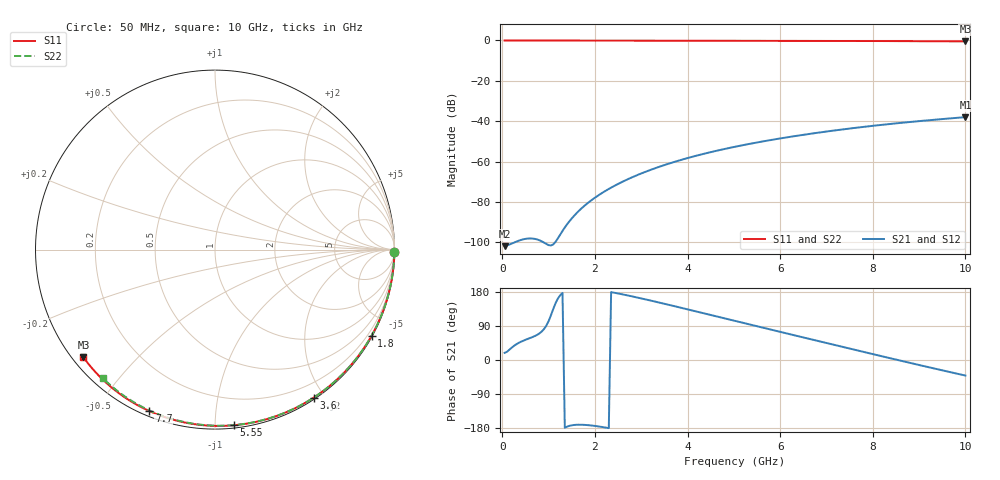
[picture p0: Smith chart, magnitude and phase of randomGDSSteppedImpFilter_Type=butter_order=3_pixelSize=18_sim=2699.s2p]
! freq	dB(S11)	phase(S11)	dB(S12)	phase(S12)
!  dB(S21)	phase(S21)	dB(S22)	phase(S22)
!S-par simulation data
#  GHz  S  DB  R 50
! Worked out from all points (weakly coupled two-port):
!   200 points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, 50 MHz to 10 GHz, reference 50 ohm
!   highest |S21| = -37.99 dB at 10 GHz (marker M1); lowest = -101.9 dB at 50 MHz (marker M2)
!   lowest |S11| = -0.5 dB at 10 GHz (marker M3), VSWR 36.94, Z = 1.53 - j17.9 ohm
!   |S11| at or under -10 dB: nowhere
!   |S22| runs from -0.4 to 0.0 dB; largest |S21 - S12| = 0
!   S11 on the Smith chart (normalised r, x): 50 MHz: open; 1.8 GHz: 0.03, -3.89; 3.6 GHz: 0.02, -1.87; 5.55 GHz: 0.02, -1.11; 7.7 GHz: 0.02, -0.67; 10 GHz: 0.03, -0.36
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0.05  -0.00 -0.8  -101.90 18.9  -101.90 18.9  -0.00 -0.8
0.45  -0.01 -7.3  -98.52 50.8  -98.52 50.8  -0.01 -6.8
0.9  -0.02 -14.5  -100.14 81.6  -100.14 81.6  -0.02 -13.6
1.75  -0.04 -28.1  -82.37 -171.0  -82.37 -171.0  -0.03 -26.2
1.8  -0.04 -28.8  -81.38 -171.4  -81.38 -171.4  -0.03 -26.9
1.85  -0.04 -29.6  -80.46 -171.9  -80.46 -171.9  -0.04 -27.6
1.9  -0.04 -30.4  -79.57 -172.5  -79.57 -172.5  -0.04 -28.3
2.05  -0.04 -32.7  -77.10 -174.8  -77.10 -174.8  -0.04 -30.5
2.25  -0.05 -35.9  -74.20 -178.7  -74.20 -178.7  -0.04 -33.4
2.65  -0.05 -42.0  -69.37 171.9  -69.37 171.9  -0.05 -39.2
3  -0.06 -47.3  -65.89 162.6  -65.89 162.6  -0.06 -44.2
3.4  -0.07 -53.3  -62.49 151.3  -62.49 151.3  -0.07 -49.8
3.6  -0.08 -56.3  -60.98 145.5  -60.98 145.5  -0.07 -52.6
4.3  -0.09 -66.5  -56.44 124.8  -56.44 124.8  -0.09 -62.1
5.05  -0.12 -77.1  -52.54 102.4  -52.54 102.4  -0.11 -72.1
5.55  -0.14 -84.0  -50.32 87.6  -50.32 87.6  -0.13 -78.5
6.1  -0.16 -91.4  -48.16 71.3  -48.16 71.3  -0.15 -85.5
6.7  -0.19 -99.3  -46.07 53.6  -46.07 53.6  -0.18 -92.9
7.7  -0.25 -112.1  -43.08 24.3  -43.08 24.3  -0.24 -104.9
8.35  -0.31 -120.3  -41.42 5.4  -41.42 5.4  -0.29 -112.4
9.2  -0.38 -130.8  -39.54 -18.9  -39.54 -18.9  -0.36 -122.2
10  -0.47 -140.7  -37.99 -41.0  -37.99 -41.0  -0.44 -131.2
